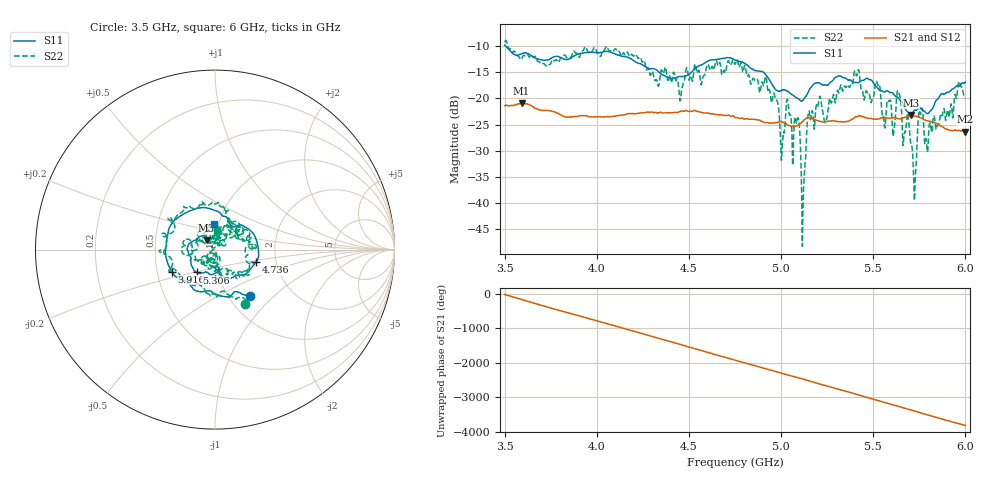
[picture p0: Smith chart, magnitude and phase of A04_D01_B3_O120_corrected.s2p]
! Created with skrf 1.9.0 (http://scikit-rf.org).
# Hz S RI R 50.0
!freq ReS11 ImS11 ReS21 ImS21 ReS12 ImS12 ReS22 ImS22
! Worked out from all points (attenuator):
!   1601 points, 3.5 GHz to 6 GHz, reference 50 ohm
!   highest |S21| = -20.95 dB at 3.592 GHz (marker M1); lowest = -26.4 dB at 6 GHz (marker M2)
!   lowest |S11| = -23.1 dB at 5.703 GHz (marker M3), VSWR 1.15, Z = 45.3 + j4.7 ohm
!   |S11| at or under -10 dB: 3.506 GHz to end of sweep
!   |S22| runs from -48.3 to -8.9 dB; largest |S21 - S12| = 0.0013
!   S11 on the Smith chart (normalised r, x): 3.5 GHz: 1.26, -0.72; 3.916 GHz: 0.60, -0.16; 4.736 GHz: 1.58, -0.23; 5.306 GHz: 0.79, -0.21; 6 GHz: 0.95, +0.28
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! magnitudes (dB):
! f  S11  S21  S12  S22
! 3.5 GHz  -9.8  -21.4  -21.4  -9.2
! 3.592 GHz  -11.4  -20.9  -21.0  -12.4
! 3.916 GHz  -11.4  -23.3  -23.3  -11.2
! 3.917 GHz  -11.4  -23.3  -23.3  -11.1
! 4.334 GHz  -14.9  -22.8  -22.7  -17.7
! 4.736 GHz  -12.4  -23.3  -23.4  -12.8
! 4.75 GHz  -12.7  -23.7  -23.6  -13.5
! 4.969 GHz  -18.3  -24.7  -24.6  -20.0
! 5.006 GHz  -18.4  -24.5  -24.5  -29.2
! 5.036 GHz  -18.6  -25.1  -25.1  -20.4
! 5.088 GHz  -19.9  -25.2  -25.2  -24.2
! 5.12 GHz  -20.3  -24.3  -24.2  -38.9
! 5.145 GHz  -18.9  -23.7  -23.7  -23.4
! 5.167 GHz  -17.7  -23.8  -23.8  -22.5
! 5.306 GHz  -15.8  -24.4  -24.4  -18.4
! 5.411 GHz  -16.9  -23.5  -23.5  -15.5
! 5.584 GHz  -18.7  -23.8  -23.8  -20.5
! 5.703 GHz  -23.1  -23.4  -23.4  -28.6
! 5.725 GHz  -22.2  -23.4  -23.4  -38.4
! 5.756 GHz  -21.8  -23.7  -23.7  -23.1
! 5.789 GHz  -22.8  -24.2  -24.2  -28.5
! 6 GHz  -16.9  -26.4  -26.3  -19.9
